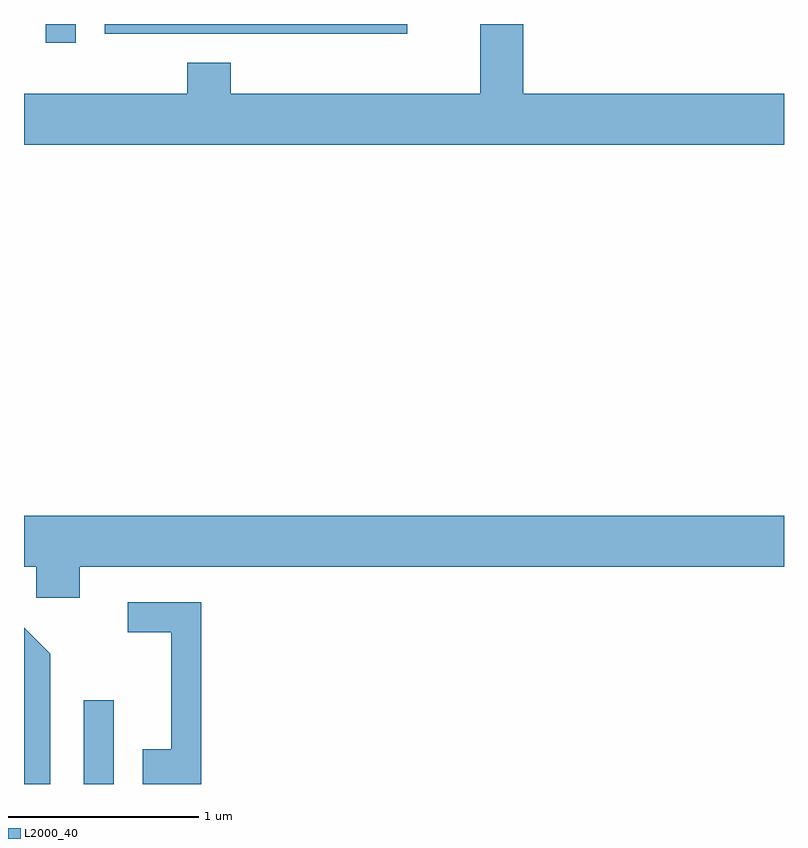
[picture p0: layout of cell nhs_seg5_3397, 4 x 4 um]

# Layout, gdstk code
import gdstk
lib = gdstk.Library(unit=1e-6, precision=1e-09)
def R(c, l, rs):  # rectangles x0, y0, x1, y1
    for r in rs: c.add(gdstk.rectangle(r[:2], r[2:], *l))
def P(c, l, *ps):  # polygons
    for p in ps: c.add(gdstk.Polygon(p, *l))
L2000_40 = (2000, 40)

nhs_seg5_3397 = lib.new_cell('nhs_seg5_3397')
R(nhs_seg5_3397, L2000_40, [(285.926,1480.072,286.084,1480.513), (285.726,1483.973,285.884,1484.072), (286.036,1484.021,287.629,1484.072)])
P(nhs_seg5_3397, L2000_40, [(289.611,1483.704),(288.239,1483.704),(288.239,1484.072),(288.011,1484.072),(288.011,1483.704),(286.699,1483.704),(286.699,1483.869),(286.471,1483.869),(286.471,1483.704),(285.611,1483.704),(285.611,1483.436),(289.611,1483.436)],
  [(285.904,1481.216),(289.611,1481.216),(289.611,1481.484),(285.611,1481.484),(285.611,1481.216),(285.676,1481.216),(285.676,1481.051),(285.904,1481.051)],
  [(286.544,1481.029),(286.158,1481.029),(286.158,1480.871),(286.386,1480.871),(286.386,1480.254),(286.236,1480.254),(286.236,1480.072),(286.544,1480.072)],
  [(285.749,1480.757),(285.611,1480.895),(285.611,1480.072),(285.749,1480.072)])

lib.write_gds('nhs_seg5_3397.gds')
